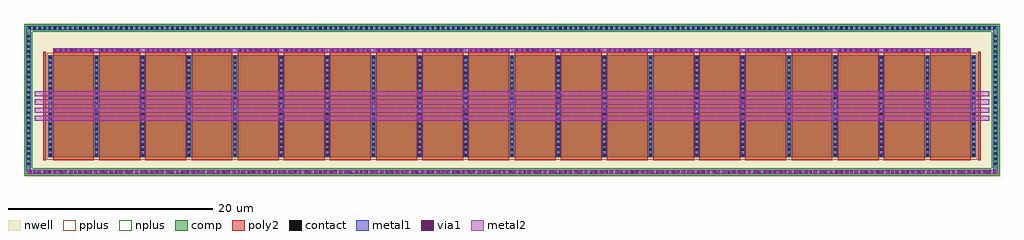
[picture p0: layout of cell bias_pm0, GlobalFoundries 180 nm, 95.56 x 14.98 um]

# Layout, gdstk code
import gdstk
lib = gdstk.Library(unit=1e-6, precision=1e-09)
def R(c, l, rs):  # rectangles x0, y0, x1, y1
    for r in rs: c.add(gdstk.rectangle(r[:2], r[2:], *l))
def A(c, l, x, y, w, h, nx, ny, dx, dy):  # array of equal rectangles
    R(c, l, [(x+i*dx, y+j*dy, x+i*dx+w, y+j*dy+h) for i in range(nx) for j in range(ny)])
nwell = (21, 0)
comp = (22, 0)
poly2 = (30, 0)
pplus = (31, 0)
nplus = (32, 0)
contact = (33, 0)
metal1 = (34, 0)
via1 = (35, 0)
metal2 = (36, 0)

bias_pm0 = lib.new_cell('bias_pm0')
R(bias_pm0, nwell, [(-0.22,-0.22,95.34,14.76)])
R(bias_pm0, comp, [(0,0,95.12,0.42), (0,0,0.42,14.54), (94.7,0,95.12,14.54), (2.17,1.67,92.95,11.67), (0,14.12,95.12,14.54)])
A(bias_pm0, poly2, 2.62, 1.37, 4, 10.96, 20, 1, 4.52, 0)
R(bias_pm0, poly2, [(1.65,1.37,1.93,11.97), (93.19,1.37,93.47,11.97)])
R(bias_pm0, pplus, [(1.99,1.43,93.13,11.91)])
R(bias_pm0, nplus, [(-0.16,-0.16,95.28,0.58), (-0.16,-0.16,0.58,14.7), (94.54,-0.16,95.28,14.7), (-0.16,13.96,95.28,14.7)])
A(bias_pm0, contact, 0.2, 0.1, 0.22, 0.22, 190, 2, 0.5, 14.12)
A(bias_pm0, contact, 0.1, 0.91, 0.22, 0.22, 1, 26, 0, 0.5)
A(bias_pm0, contact, 94.8, 0.91, 0.22, 0.22, 1, 26, 0, 0.5)
A(bias_pm0, contact, 2.25, 1.81, 0.22, 0.22, 21, 20, 4.52, 0.5)
A(bias_pm0, contact, 2.76, 12.04, 0.22, 0.22, 8, 1, 0.5, 0)
A(bias_pm0, contact, 7.28, 12.04, 0.22, 0.22, 8, 1, 0.5, 0)
A(bias_pm0, contact, 11.8, 12.04, 0.22, 0.22, 8, 1, 0.5, 0)
A(bias_pm0, contact, 16.32, 12.04, 0.22, 0.22, 8, 1, 0.5, 0)
A(bias_pm0, contact, 20.84, 12.04, 0.22, 0.22, 8, 1, 0.5, 0)
A(bias_pm0, contact, 25.36, 12.04, 0.22, 0.22, 8, 1, 0.5, 0)
A(bias_pm0, contact, 29.88, 12.04, 0.22, 0.22, 8, 1, 0.5, 0)
A(bias_pm0, contact, 34.4, 12.04, 0.22, 0.22, 8, 1, 0.5, 0)
A(bias_pm0, contact, 38.92, 12.04, 0.22, 0.22, 8, 1, 0.5, 0)
A(bias_pm0, contact, 43.44, 12.04, 0.22, 0.22, 8, 1, 0.5, 0)
A(bias_pm0, contact, 47.96, 12.04, 0.22, 0.22, 8, 1, 0.5, 0)
A(bias_pm0, contact, 52.48, 12.04, 0.22, 0.22, 8, 1, 0.5, 0)
A(bias_pm0, contact, 57, 12.04, 0.22, 0.22, 8, 1, 0.5, 0)
A(bias_pm0, contact, 61.52, 12.04, 0.22, 0.22, 8, 1, 0.5, 0)
A(bias_pm0, contact, 66.04, 12.04, 0.22, 0.22, 8, 1, 0.5, 0)
A(bias_pm0, contact, 70.56, 12.04, 0.22, 0.22, 8, 1, 0.5, 0)
A(bias_pm0, contact, 75.08, 12.04, 0.22, 0.22, 8, 1, 0.5, 0)
A(bias_pm0, contact, 79.6, 12.04, 0.22, 0.22, 8, 1, 0.5, 0)
A(bias_pm0, contact, 84.12, 12.04, 0.22, 0.22, 8, 1, 0.5, 0)
A(bias_pm0, contact, 88.64, 12.04, 0.22, 0.22, 8, 1, 0.5, 0)
A(bias_pm0, metal1, 2.17, 1.73, 0.38, 9.88, 21, 1, 4.52, 0)
R(bias_pm0, metal1, [(0,0,95.12,0.42), (0,0,0.42,14.54), (94.7,0,95.12,14.54), (2.68,11.96,92.44,12.34), (0,14.12,95.12,14.54)])
A(bias_pm0, via1, 0.27, 0.08, 0.26, 0.26, 118, 1, 0.8, 0)
A(bias_pm0, via1, 2.23, 5.34, 0.26, 0.26, 11, 1, 9.04, 0)
A(bias_pm0, via1, 6.75, 6.14, 0.26, 0.26, 4, 1, 18.08, 0)
A(bias_pm0, via1, 15.79, 6.94, 0.26, 0.26, 4, 1, 18.08, 0)
A(bias_pm0, via1, 4.49, 12.02, 0.26, 0.26, 20, 1, 4.52, 0)
R(bias_pm0, via1, [(79.07,7.74,79.33,8), (88.11,7.74,88.37,8)])
A(bias_pm0, metal2, 0.82, 5.22, 93.48, 0.5, 1, 4, 0, 0.8)
R(bias_pm0, metal2, [(0,0,95.12,0.42), (2.68,11.96,92.44,12.34)])

lib.write_gds('bias_pm0.gds')
